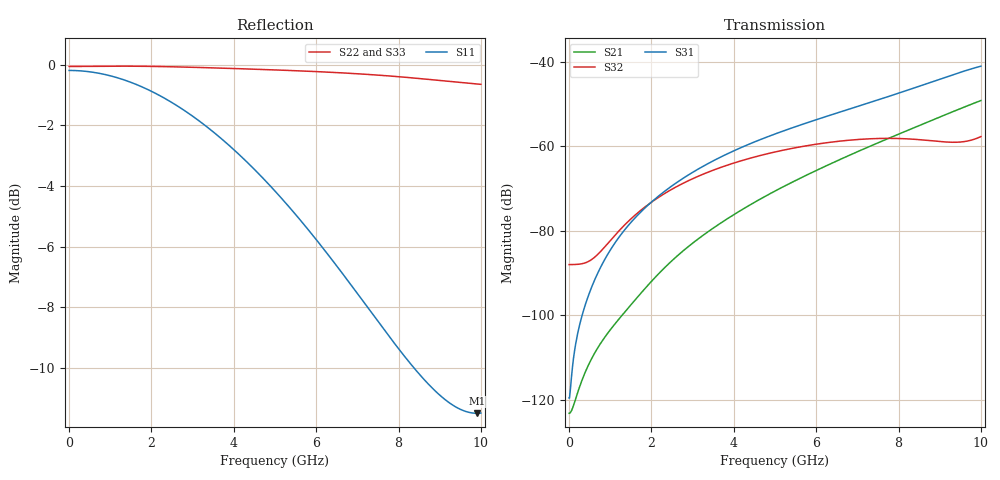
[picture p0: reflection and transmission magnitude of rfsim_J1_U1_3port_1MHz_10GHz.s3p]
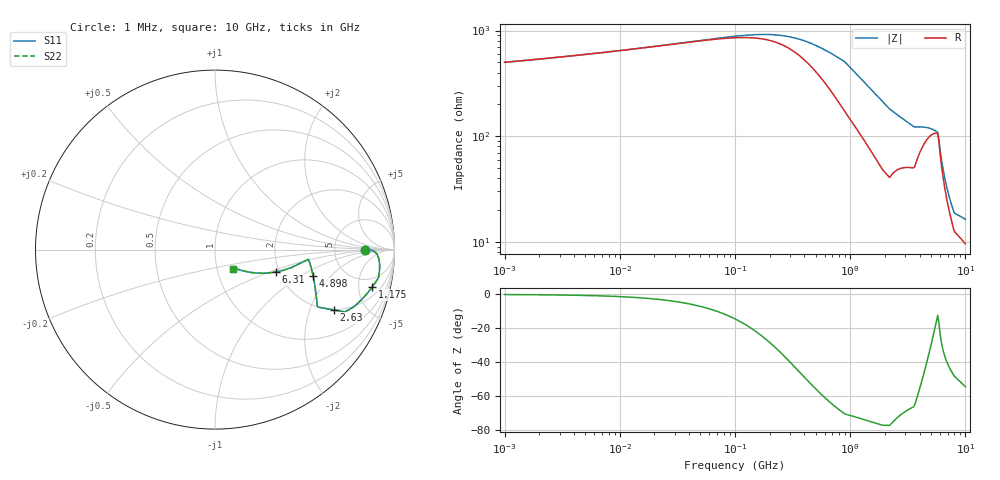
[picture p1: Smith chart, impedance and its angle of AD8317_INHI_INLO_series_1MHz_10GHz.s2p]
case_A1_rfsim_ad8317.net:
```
# A: rfsim 3-port + AD8317 Zin
Pac:P1 n1 gnd Num="1" Z="50 Ohm" P="0 dBm" f="1e9"
SPfile:EM n1 n2 n3 gnd File="rfsim_J1_U1_3port_1MHz_10GHz.s3p" Data="rectangular" Interpolator="linear" duringDC="open"
SPfile:CHIP n2 n3 gnd File="AD8317_INHI_INLO_series_1MHz_10GHz.s2p" Data="rectangular" Interpolator="linear" duringDC="open"
.SP:SP1 Type="log" Start="1e6" Stop="1e10" Points="401"
```
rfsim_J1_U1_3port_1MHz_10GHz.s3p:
! rfsim result results.s3p: P1 = J1 pad, P2 = U1:1 (INHI), P3 = U1:8 (INLO)
! points below the first rfsim frequency are copies of it (flat extension)
# HZ S RI R 50
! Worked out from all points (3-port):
!   402 points, 1 MHz to 10 GHz, reference 50 ohm
!   strongest paths, dB at 1 MHz, 2.483 GHz, 5.005 GHz, 7.503 GHz, 10 GHz:
!     S31: -119.6, -69.5, -57.1, -49.0, -41.0
!     S32: -88.0, -70.2, -61.3, -58.1, -57.7
!     S21: -123.2, -87.2, -70.6, -59.2, -49.2
!   lowest |S11| = -11.5 dB at 9.9 GHz (marker M1), VSWR 1.72, Z = 68 - j26.7 ohm
!   |S11| at or under -10 dB: 8.373 GHz to end of sweep
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1000000  0.9784 -0.00216  -2.8e-05 3.41e-07  -9.29e-07 -1.46e-07
         6.88e-07 -5.98e-08  0.9932 -0.000592  9.22e-07 -2.76e-07
         1.01e-06 -2.88e-07  -3.98e-05 -3.19e-07  -0.9932 0.00343
1.333675e9  0.9044 -0.2704  1.55e-06 7.99e-06  -9.53e-05 2.31e-05
            -1.04e-05 -2.26e-06  0.991 -0.0813  -6.49e-05 1.06e-05
            -0.0001 -6.2e-07  -8.17e-05 -8.12e-05  -0.8891 0.4524
4.430575e9  0.4455 -0.5127  -0.000197 8.69e-05  -0.000276 0.00106
            -0.00016 0.000132  0.945 -0.2719  -0.000399 0.000483
            -0.000381 0.00102  -0.000679 0.000271  -0.1144 0.9925
9.9001e9  0.1938 -0.1822  0.00319 0.00212  0.0088 8.55e-06
          0.00291 0.00164  0.7213 -0.5859  -0.000468 0.000745
          0.00862 0.000196  -0.000948 0.000804  0.8929 0.3347
1e10  0.1975 -0.1785  0.00344 0.00207  0.00905 -0.000467
      0.0031 0.00159  0.7155 -0.5912  -0.000561 0.000749
      0.00888 -0.000278  -0.00104 0.000788  0.8985 0.3156
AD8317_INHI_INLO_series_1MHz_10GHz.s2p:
! AD8317 input impedance model, 1 MHz - 10 GHz (datasheet Rev.D R||C table, see ad8317_input_model.py)
! Reference impedance 50 ohm. INLO is ac-coupled RF common.
! 2-port series element Zin between port1 (INHI) and port2 (INLO). Connect to rfsim ports 2 and 3.
# HZ S RI R 50
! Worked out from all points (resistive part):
!   401 points, 1 MHz to 10 GHz, reference 50 ohm
!   read as one part in series: R = 502 ohm at 1.047 MHz
!   S11 on the Smith chart (normalised r, x): 1 MHz: 11, -0; 1.175 GHz: 3.22, -7.09; 2.63 GHz: 1.97, -2.97; 4.898 GHz: 2.99, -1.30; 6.31 GHz: 1.91, -0.55; 10 GHz: 1.19, -0.27
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1000000  0.8333 -0.000305  0.1667 0.000305  0.1667 0.000305  0.8333 -0.000305
1.023293e8  0.9009 -0.0234  0.0991 0.0234  0.0991 0.0234  0.9009 -0.0234
3.715352e8  0.9164 -0.0746  0.0836 0.0746  0.0836 0.0746  0.9164 -0.0746
1.174898e9  0.8761 -0.2082  0.1239 0.2082  0.1239 0.2082  0.8761 -0.2082
2.630268e9  0.663 -0.3363  0.337 0.3363  0.337 0.3363  0.663 -0.3363
3.630781e9  0.5705 -0.3148  0.4295 0.3148  0.4295 0.3148  0.5705 -0.3148
4.897788e9  0.5468 -0.1473  0.4532 0.1473  0.4532 0.1473  0.5468 -0.1473
5.623413e9  0.5256 -0.0676  0.4744 0.0676  0.4744 0.0676  0.5256 -0.0676
6.309573e9  0.3373 -0.1251  0.6627 0.1251  0.6627 0.1251  0.3373 -0.1251
7.943282e9  0.1279 -0.1095  0.8721 0.1095  0.8721 0.1095  0.1279 -0.1095
1e10  0.1004 -0.109  0.8996 0.109  0.8996 0.109  0.1004 -0.109
